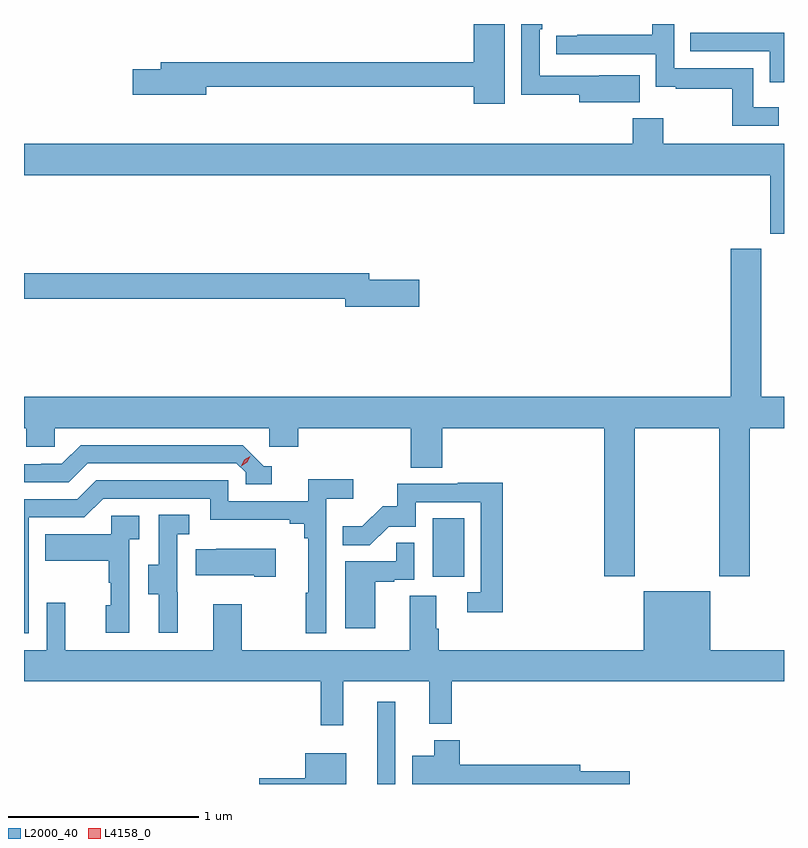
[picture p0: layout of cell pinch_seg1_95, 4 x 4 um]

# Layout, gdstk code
import gdstk
lib = gdstk.Library(unit=1e-6, precision=1e-09)
def R(c, l, rs):  # rectangles x0, y0, x1, y1
    for r in rs: c.add(gdstk.rectangle(r[:2], r[2:], *l))
def P(c, l, *ps):  # polygons
    for p in ps: c.add(gdstk.Polygon(p, *l))
L2000_40 = (2000, 40)
L4158_0 = (4158, 0)

pinch_seg1_95 = lib.new_cell('pinch_seg1_95')
R(pinch_seg1_95, L2000_40, [(1072.604,555.187,1072.701,555.619), (1072.898,556.278,1073.062,556.585)])
P(pinch_seg1_95, L2000_40, [(1074.719,558.748),(1074.585,558.748),(1074.585,558.954),(1074.168,558.954),(1074.168,559.187),(1074.052,559.187),(1074.052,559.13),(1073.659,559.13),(1073.659,559.125),(1073.547,559.125),(1073.547,559.029),(1074.072,559.029),(1074.072,558.857),(1074.175,558.857),(1074.175,558.846),(1074.474,558.846),(1074.474,558.651),(1074.719,558.651)],
  [(1073.987,558.916),(1073.773,558.916),(1073.773,558.915),(1073.46,558.915),(1073.46,559.16),(1073.474,559.16),(1073.474,559.187),(1073.364,559.187),(1073.364,558.814),(1073.669,558.814),(1073.669,558.776),(1073.987,558.776)],
  [(1073.275,559.187),(1073.114,559.187),(1073.114,558.986),(1071.467,558.986),(1071.467,558.95),(1071.318,558.95),(1071.318,558.815),(1071.706,558.815),(1071.706,558.858),(1073.114,558.858),(1073.114,558.768),(1073.275,558.768)],
  [(1074.746,559.14),(1074.253,559.14),(1074.253,559.044),(1074.672,559.044),(1074.672,558.881),(1074.746,558.881)],
  [(1074.746,558.556),(1074.111,558.556),(1074.111,558.691),(1073.951,558.691),(1073.951,558.556),(1070.746,558.556),(1070.746,558.392),(1074.674,558.392),(1074.674,558.083),(1074.746,558.083)],
  [(1073.961,557.06),(1074.406,557.06),(1074.406,556.281),(1074.566,556.281),(1074.566,557.06),(1074.746,557.06),(1074.746,557.224),(1074.627,557.224),(1074.627,558.004),(1074.467,558.004),(1074.467,557.224),(1070.746,557.224),(1070.746,557.06),(1070.757,557.06),(1070.757,556.962),(1070.907,556.962),(1070.907,557.06),(1072.038,557.06),(1072.038,556.962),(1072.19,556.962),(1072.19,557.06),(1072.781,557.06),(1072.781,556.852),(1072.946,556.852),(1072.946,557.06),(1073.801,557.06),(1073.801,556.281),(1073.961,556.281)],
  [(1072.825,557.84),(1072.564,557.84),(1072.564,557.876),(1070.746,557.876),(1070.746,557.74),(1072.436,557.74),(1072.436,557.698),(1072.825,557.698)],
  [(1072.051,556.86),(1072.008,556.86),(1071.897,556.971),(1071.044,556.971),(1070.945,556.872),(1070.838,556.872),(1070.838,556.869),(1070.746,556.869),(1070.746,556.776),(1070.982,556.776),(1071.081,556.875),(1071.864,556.875),(1071.912,556.827),(1071.912,556.764),(1072.051,556.764)],
  [(1070.772,556.59),(1071.063,556.59),(1071.162,556.689),(1071.726,556.689),(1071.726,556.577),(1072.145,556.577),(1072.145,556.558),(1072.222,556.558),(1072.222,556.481),(1072.241,556.481),(1072.241,556.193),(1072.23,556.193),(1072.23,555.981),(1072.338,555.981),(1072.338,556.688),(1072.48,556.688),(1072.48,556.79),(1072.241,556.79),(1072.241,556.674),(1071.822,556.674),(1071.822,556.785),(1071.125,556.785),(1071.026,556.686),(1070.746,556.686),(1070.746,555.981),(1070.772,555.981)],
  [(1073.267,556.772),(1073.029,556.772),(1073.029,556.767),(1072.711,556.767),(1072.711,556.65),(1072.634,556.65),(1072.527,556.543),(1072.423,556.543),(1072.423,556.444),(1072.567,556.444),(1072.665,556.542),(1072.809,556.542),(1072.809,556.671),(1073.151,556.671),(1073.151,556.197),(1073.079,556.197),(1073.079,556.092),(1073.267,556.092)],
  [(1071.554,556.197),(1071.552,556.197),(1071.552,556.501),(1071.616,556.501),(1071.616,556.604),(1071.456,556.604),(1071.456,556.341),(1071.401,556.341),(1071.401,556.186),(1071.455,556.186),(1071.455,555.984),(1071.554,555.984)],
  [(1071.3,556.475),(1071.352,556.475),(1071.352,556.599),(1071.204,556.599),(1071.204,556.501),(1070.857,556.501),(1070.857,556.361),(1071.192,556.361),(1071.192,556.247),(1071.202,556.247),(1071.202,556.128),(1071.176,556.128),(1071.176,555.984),(1071.3,555.984)],
  [(1072.594,556.251),(1072.694,556.251),(1072.694,556.263),(1072.8,556.263),(1072.8,556.457),(1072.705,556.457),(1072.705,556.359),(1072.436,556.359),(1072.436,556.008),(1072.594,556.008)],
  [(1072.072,556.426),(1071.757,556.426),(1071.757,556.423),(1071.649,556.423),(1071.649,556.286),(1071.959,556.286),(1071.959,556.279),(1072.072,556.279)],
  [(1072.427,555.728),(1072.88,555.728),(1072.88,555.503),(1072.997,555.503),(1072.997,555.728),(1074.746,555.728),(1074.746,555.892),(1074.358,555.892),(1074.358,556.201),(1074.008,556.201),(1074.008,555.892),(1072.928,555.892),(1072.928,556.004),(1072.915,556.004),(1072.915,556.178),(1072.775,556.178),(1072.775,555.892),(1071.891,555.892),(1071.891,556.132),(1071.743,556.132),(1071.743,555.892),(1070.963,555.892),(1070.963,556.141),(1070.865,556.141),(1070.865,555.892),(1070.746,555.892),(1070.746,555.728),(1072.309,555.728),(1072.309,555.495),(1072.427,555.495)],
  [(1073.935,555.255),(1073.674,555.255),(1073.674,555.289),(1073.039,555.289),(1073.039,555.418),(1072.904,555.418),(1072.904,555.337),(1072.79,555.337),(1072.79,555.187),(1073.935,555.187)],
  [(1072.441,555.349),(1072.226,555.349),(1072.226,555.218),(1071.984,555.218),(1071.984,555.187),(1072.441,555.187)])
P(pinch_seg1_95, L4158_0, [(1071.889,556.86),(1071.889,556.86),(1071.905,556.893),(1071.936,556.913),(1071.936,556.913),(1071.936,556.912),(1071.92,556.88),(1071.889,556.86)])

lib.write_gds('pinch_seg1_95.gds')
